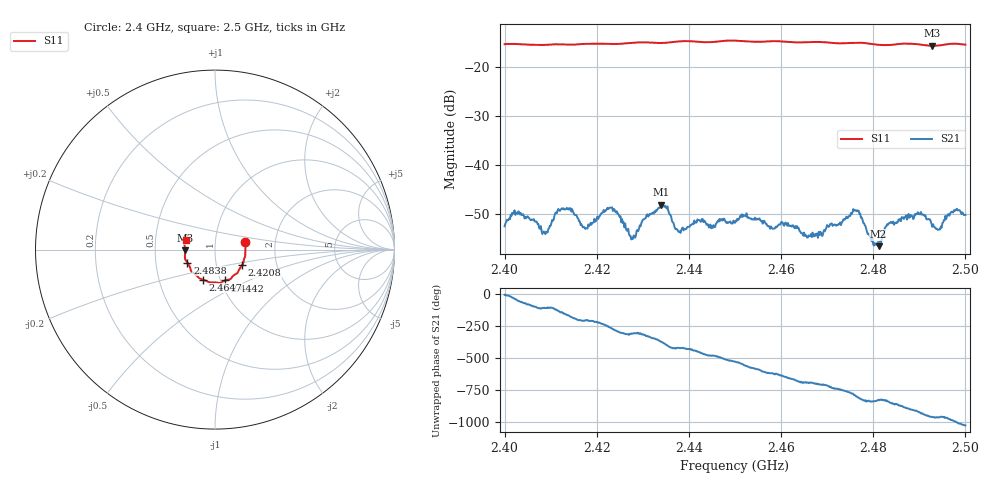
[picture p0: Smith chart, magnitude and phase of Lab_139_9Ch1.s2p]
# Hz S RI R 50
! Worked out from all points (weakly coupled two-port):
!   601 points, 2.4 GHz to 2.5 GHz, reference 50 ohm
!   highest |S21| = -48.14 dB at 2.434 GHz (marker M1); lowest = -56.6 dB at 2.4812 GHz (marker M2)
!   lowest |S11| = -15.6 dB at 2.4928 GHz (marker M3), VSWR 1.40, Z = 35.8 - j0.34 ohm
!   |S11| at or under -10 dB: start of sweep to end of sweep
!   S12 and S22 are empty: the file has one direction only
!   S11 on the Smith chart (normalised r, x): 2.4 GHz: 1.40, +0.12; 2.4208 GHz: 1.33, -0.24; 2.4442 GHz: 1.05, -0.37; 2.4647 GHz: 0.83, -0.29; 2.4838 GHz: 0.73, -0.11; 2.5 GHz: 0.72, +0.08
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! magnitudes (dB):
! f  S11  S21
! 2.4 GHz  -15.3  -52.6
! 2.4027 GHz  -15.2  -49.8
! 2.4087 GHz  -15.4  -53.8
! 2.4138 GHz  -15.4  -49.1
! 2.4167 GHz  -15.2  -52.1
! 2.4208 GHz  -15.2  -50.1
! 2.4233 GHz  -15.2  -48.7
! 2.4278 GHz  -15.0  -55.1
! 2.4333 GHz  -15.0  -48.9
! 2.434 GHz  -15.0  -48.1
! 2.4377 GHz  -14.7  -53.6
! 2.4442 GHz  -14.9  -52.2
! 2.45 GHz  -14.5  -51.9
! 2.4647 GHz  -14.9  -54.0
! 2.4667 GHz  -14.8  -54.8
! 2.4762 GHz  -15.0  -49.3
! 2.4812 GHz  -15.4  -56.6
! 2.4833 GHz  -15.4  -52.0
! 2.4838 GHz  -15.4  -51.7
! 2.4898 GHz  -15.3  -50.1
! 2.4928 GHz  -15.6  -52.7
! 2.5 GHz  -15.4  -50.2
